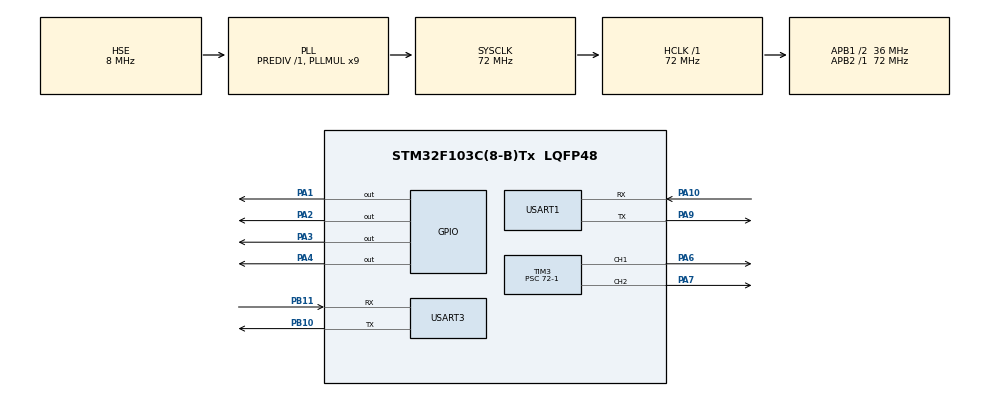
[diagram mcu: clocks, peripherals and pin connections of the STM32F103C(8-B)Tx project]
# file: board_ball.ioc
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Dma.Request0=USART1_RX
Dma.Request1=USART3_RX
Dma.USART1_RX.0.Direction=DMA_PERIPH_TO_MEMORY
Dma.USART1_RX.0.Instance=DMA1_Channel5
Dma.USART1_RX.0.MemDataAlignment=DMA_MDATAALIGN_BYTE
Dma.USART1_RX.0.MemInc=DMA_MINC_ENABLE
Dma.USART1_RX.0.Mode=DMA_NORMAL
Dma.USART1_RX.0.PeriphDataAlignment=DMA_PDATAALIGN_BYTE
Dma.USART1_RX.0.PeriphInc=DMA_PINC_DISABLE
Dma.USART1_RX.0.Priority=DMA_PRIORITY_LOW
Dma.USART3_RX.1.Direction=DMA_PERIPH_TO_MEMORY
Dma.USART3_RX.1.Instance=DMA1_Channel3
Dma.USART3_RX.1.MemDataAlignment=DMA_MDATAALIGN_BYTE
Dma.USART3_RX.1.MemInc=DMA_MINC_ENABLE
Dma.USART3_RX.1.Mode=DMA_NORMAL
Dma.USART3_RX.1.PeriphDataAlignment=DMA_PDATAALIGN_BYTE
Dma.USART3_RX.1.PeriphInc=DMA_PINC_DISABLE
Dma.USART3_RX.1.Priority=DMA_PRIORITY_LOW
Mcu.Family=STM32F1
Mcu.Name=STM32F103C(8-B)Tx
Mcu.Package=LQFP48
NVIC.DMA1_Channel3_IRQn=true\:0\:0\:false\:false\:true\:false\:true
NVIC.DMA1_Channel5_IRQn=true\:0\:0\:false\:false\:true\:false\:true
NVIC.PriorityGroup=NVIC_PRIORITYGROUP_4
NVIC.TIM4_IRQn=true\:0\:0\:false\:false\:true\:true\:true
NVIC.USART1_IRQn=true\:0\:0\:false\:false\:true\:true\:true
NVIC.USART3_IRQn=true\:0\:0\:false\:false\:true\:true\:true
PA1.Signal=GPIO_Output
PA10.Mode=Asynchronous
PA10.Signal=USART1_RX
PA13.Mode=Serial_Wire
PA13.Signal=SYS_JTMS-SWDIO
PA14.Mode=Serial_Wire
PA14.Signal=SYS_JTCK-SWCLK
PA2.Signal=GPIO_Output
PA3.Signal=GPIO_Output
PA4.Signal=GPIO_Output
PA6.Signal=S_TIM3_CH1
PA7.Signal=S_TIM3_CH2
PA9.Mode=Asynchronous
PA9.Signal=USART1_TX
PB10.Mode=Asynchronous
PB10.Signal=USART3_TX
PB11.Mode=Asynchronous
PB11.Signal=USART3_RX
PD0-OSC_IN.Mode=HSE-External-Oscillator
PD0-OSC_IN.Signal=RCC_OSC_IN
PD1-OSC_OUT.Mode=HSE-External-Oscillator
PD1-OSC_OUT.Signal=RCC_OSC_OUT
ProjectManager.HeapSize=0x200
ProjectManager.StackSize=0x400
ProjectManager.TargetToolchain=MDK-ARM V5.32
RCC.AHBFreq_Value=72000000
RCC.APB1CLKDivider=RCC_HCLK_DIV2
RCC.APB1Freq_Value=36000000
RCC.APB1TimFreq_Value=72000000
RCC.APB2Freq_Value=72000000
RCC.APB2TimFreq_Value=72000000
RCC.HCLKFreq_Value=72000000
RCC.PLLMUL=RCC_PLL_MUL9
RCC.PLLSourceVirtual=RCC_PLLSOURCE_HSE
RCC.SYSCLKFreq_VALUE=72000000
RCC.SYSCLKSource=RCC_SYSCLKSOURCE_PLLCLK
RCC.USBFreq_Value=72000000
SH.S_TIM3_CH1.0=TIM3_CH1,PWM Generation1 CH1
SH.S_TIM3_CH2.0=TIM3_CH2,PWM Generation2 CH2
TIM3.Channel-PWM\ Generation1\ CH1=TIM_CHANNEL_1
TIM3.Channel-PWM\ Generation2\ CH2=TIM_CHANNEL_2
TIM3.Period=20000-1
TIM3.Prescaler=72-1
TIM3.Pulse-PWM\ Generation1\ CH1=500
TIM3.Pulse-PWM\ Generation2\ CH2=500
TIM4.Period=10000
TIM4.Prescaler=720-1
USART1.VirtualMode=VM_ASYNC
USART3.VirtualMode=VM_ASYNC
VP_TIM3_VS_ClockSourceINT.Mode=Internal
VP_TIM4_VS_ClockSourceINT.Mode=Internal
board=custom

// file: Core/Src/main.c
/* USER CODE BEGIN Header */
/**
  ******************************************************************************
  * @file           : main.c
  * @brief          : Main program body
  ******************************************************************************
  * @attention
  *
  * Copyright (c) 2024 STMicroelectronics.
  * All rights reserved.
  *
  * This software is licensed under terms that can be found in the LICENSE file
  * in the root directory of this software component.
  * If no LICENSE file comes with this software, it is provided AS-IS.
  *
  ******************************************************************************
  */
/* USER CODE END Header */
#include "main.h"
#include "dma.h"
#include "tim.h"
#include "usart.h"
#include "gpio.h"

/* USER CODE BEGIN Includes */
#include "mymain.h"
#include <stdio.h>
#include "steer.h"
/* USER CODE END Includes */

void SystemClock_Config(void);

/* USER CODE BEGIN 0 */
int fputc(int ch, FILE *f) // printf
{
  HAL_UART_Transmit(&huart1, (uint8_t *)&ch, 1, 0xffff);
  return ch;
}

int fgetc(FILE *f) // getchar
{
  uint8_t ch = 0;
  HAL_UART_Receive(&huart1, &ch, 1, 0xffff);
  return ch;
}

/* USER CODE END 0 */

int main(void)
{

  /* MCU Configuration--------------------------------------------------------*/

  /* Reset of all peripherals, Initializes the Flash interface and the Systick. */
  HAL_Init();

  /* Configure the system clock */
  SystemClock_Config();

  /* Initialize all configured peripherals */
  MX_GPIO_Init();
  MX_DMA_Init();
  MX_TIM4_Init();
  MX_USART1_UART_Init();
  MX_USART3_UART_Init();
  MX_TIM3_Init();
  /* USER CODE BEGIN 2 */
	HAL_TIM_PWM_Start(&htim3,TIM_CHANNEL_1);
	HAL_TIM_PWM_Start(&htim3,TIM_CHANNEL_2);
	steer_init();
//	HAL_Delay(500);
//  DMA_USART_Init(&huart1);
//  DMA_USART_Init(&huart3);
//  HAL_Delay(500);
  /* USER CODE END 2 */

  /* Infinite loop */
  while (1)
  {
		mymain();
  }
}

void SystemClock_Config(void)
{
  RCC_OscInitTypeDef RCC_OscInitStruct = {0};
  RCC_ClkInitTypeDef RCC_ClkInitStruct = {0};

  /** Initializes the RCC Oscillators according to the specified parameters
  * in the RCC_OscInitTypeDef structure.
  */
  RCC_OscInitStruct.OscillatorType = RCC_OSCILLATORTYPE_HSE;
  RCC_OscInitStruct.HSEState = RCC_HSE_ON;
  RCC_OscInitStruct.HSEPredivValue = RCC_HSE_PREDIV_DIV1;
  RCC_OscInitStruct.HSIState = RCC_HSI_ON;
  RCC_OscInitStruct.PLL.PLLState = RCC_PLL_ON;
  RCC_OscInitStruct.PLL.PLLSource = RCC_PLLSOURCE_HSE;
  RCC_OscInitStruct.PLL.PLLMUL = RCC_PLL_MUL9;
  if (HAL_RCC_OscConfig(&RCC_OscInitStruct) != HAL_OK)
  {
    Error_Handler();
  }
  /** Initializes the CPU, AHB and APB buses clocks
  */
  RCC_ClkInitStruct.ClockType = RCC_CLOCKTYPE_HCLK|RCC_CLOCKTYPE_SYSCLK
                              |RCC_CLOCKTYPE_PCLK1|RCC_CLOCKTYPE_PCLK2;
  RCC_ClkInitStruct.SYSCLKSource = RCC_SYSCLKSOURCE_PLLCLK;
  RCC_ClkInitStruct.AHBCLKDivider = RCC_SYSCLK_DIV1;
  RCC_ClkInitStruct.APB1CLKDivider = RCC_HCLK_DIV2;
  RCC_ClkInitStruct.APB2CLKDivider = RCC_HCLK_DIV1;

  if (HAL_RCC_ClockConfig(&RCC_ClkInitStruct, FLASH_LATENCY_2) != HAL_OK)
  {
    Error_Handler();
  }
}

void Error_Handler(void)
{
  /* USER CODE BEGIN Error_Handler_Debug */
  /* User can add his own implementation to report the HAL error return state */
  __disable_irq();
  while (1)
  {
	__HAL_TIM_SET_COMPARE(&htim3,TIM_CHANNEL_1,500);
	HAL_Delay(3000);
	__HAL_TIM_SET_COMPARE(&htim3,TIM_CHANNEL_1,2500);
	HAL_Delay(3000);
  }
  /* USER CODE END Error_Handler_Debug */
}
